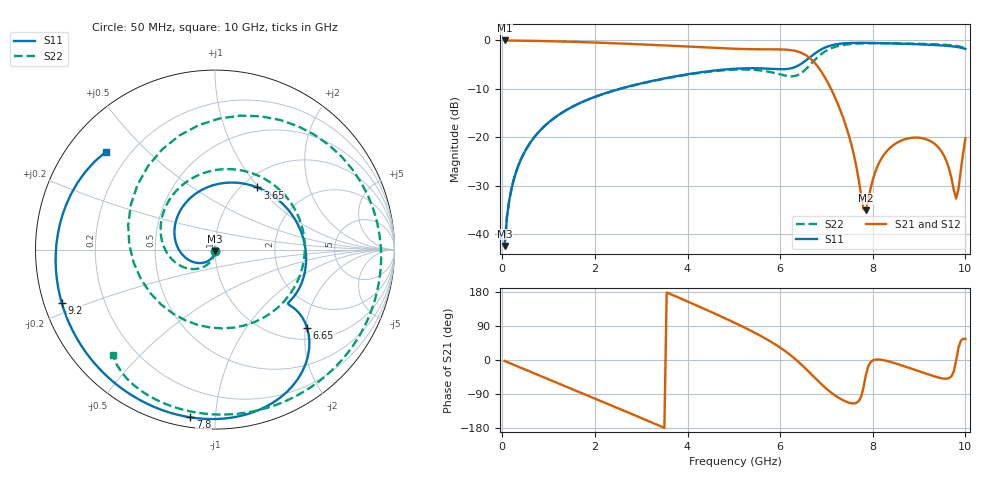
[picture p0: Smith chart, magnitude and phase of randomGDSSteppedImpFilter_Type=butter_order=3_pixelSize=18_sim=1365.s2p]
! freq	dB(S11)	phase(S11)	dB(S12)	phase(S12)
!  dB(S21)	phase(S21)	dB(S22)	phase(S22)
!S-par simulation data
#  GHz  S  DB  R 50
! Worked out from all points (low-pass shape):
!   200 points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, 50 MHz to 10 GHz, reference 50 ohm
!   highest |S21| = 0.00 dB at 50 MHz (marker M1); lowest = -35.0 dB at 7.85 GHz (marker M2)
!   |S21| within 3 dB of the highest: start of sweep to 6.548 GHz
!   lowest |S11| = -42.4 dB at 50 MHz (marker M3), VSWR 1.02, Z = 50 - j0.759 ohm
!   |S11| at or under -10 dB: start of sweep to 2.529 GHz
!   |S22| runs from -42.4 to -0.6 dB; largest |S21 - S12| = 0
!   S11 on the Smith chart (normalised r, x): 50 MHz: 1.00, -0.02; 3.65 GHz: 1.17, +0.98; 6.65 GHz: 1.28, -2.04; 7.8 GHz: 0.05, -0.86; 9.2 GHz: 0.05, -0.17; 10 GHz: 0.12, +0.38
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0.05  -42.39 -91.9  -0.00 -2.6  -0.00 -2.6  -42.42 -91.3
0.2  -30.52 -102.2  -0.02 -10.3  -0.02 -10.3  -30.50 -98.1
0.5  -22.68 -121.1  -0.06 -25.6  -0.06 -25.6  -22.66 -111.1
1.75  -12.59 162.9  -0.35 -89.0  -0.35 -89.0  -12.60 -162.9
2.65  -9.68 110.0  -0.67 -134.9  -0.67 -134.9  -9.72 158.2
3.4  -8.02 68.7  -0.98 -173.8  -0.98 -173.8  -8.08 122.0
3.65  -7.56 55.8  -1.10 173.1  -1.10 173.1  -7.62 108.8
5.05  -5.82 -7.5  -1.73 96.3  -1.73 96.3  -6.02 20.6
5.6  -5.76 -26.8  -1.83 62.2  -1.83 62.2  -6.22 -26.6
6.1  -5.92 -36.4  -1.88 24.2  -1.88 24.2  -7.22 -93.1
6.45  -4.85 -36.8  -2.53 -11.1  -2.53 -11.1  -6.76 -170.8
6.65  -3.42 -40.4  -3.72 -34.9  -3.72 -34.9  -4.99 140.0
6.7  -3.05 -42.1  -4.16 -41.0  -4.16 -41.0  -4.49 128.6
7.05  -1.18 -60.3  -9.07 -81.0  -9.07 -81.0  -1.84 63.2
7.4  -0.58 -79.5  -17.04 -108.7  -17.04 -108.7  -0.88 19.4
7.8  -0.50 -98.4  -34.78 -72.4  -34.78 -72.4  -0.60 -14.9
7.85  -0.50 -100.6  -35.03 -40.2  -35.03 -40.2  -0.59 -18.5
8.35  -0.60 -121.8  -22.36 -4.0  -22.36 -4.0  -0.58 -49.2
9.2  -0.88 -160.8  -20.54 -38.0  -20.54 -38.0  -0.75 -91.0
9.55  -1.07 178.2  -23.99 -49.4  -23.99 -49.4  -0.89 -107.8
9.8  -1.31 158.8  -32.59 -1.7  -32.59 -1.7  -1.11 -121.1
10  -1.76 138.2  -20.23 55.6  -20.23 55.6  -1.75 -134.0
